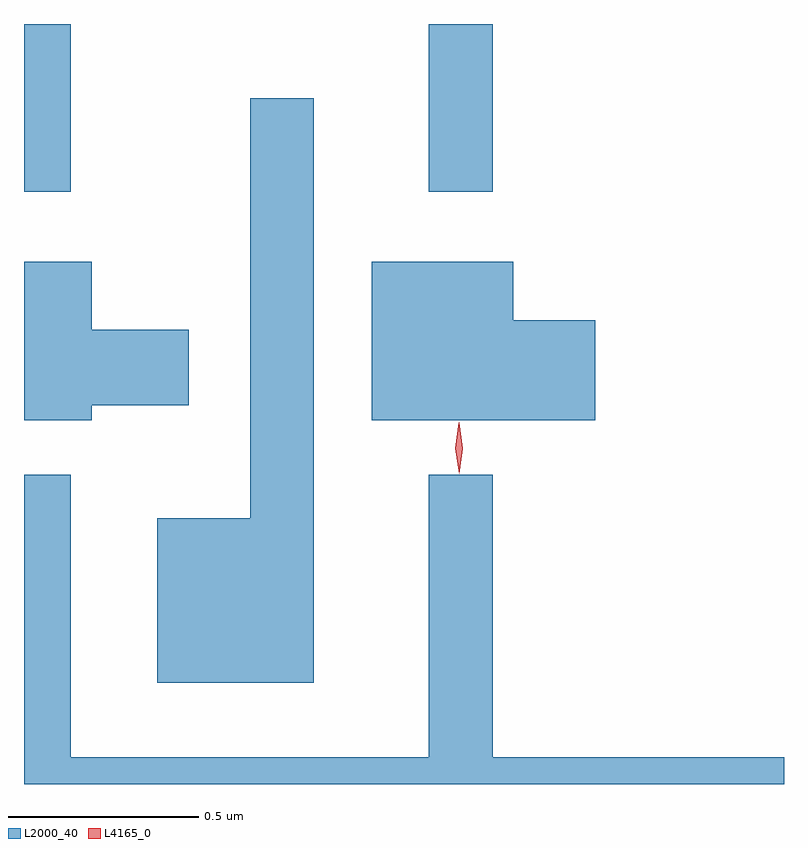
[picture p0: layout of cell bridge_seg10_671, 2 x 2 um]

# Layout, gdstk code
import gdstk
lib = gdstk.Library(unit=1e-6, precision=1e-09)
def R(c, l, rs):  # rectangles x0, y0, x1, y1
    for r in rs: c.add(gdstk.rectangle(r[:2], r[2:], *l))
def P(c, l, *ps):  # polygons
    for p in ps: c.add(gdstk.Polygon(p, *l))
L2000_40 = (2000, 40)
L4165_0 = (4165, 0)

bridge_seg10_671 = lib.new_cell('bridge_seg10_671')
R(bridge_seg10_671, L2000_40, [(720.736,2093.472,720.859,2093.914), (721.801,2093.472,721.969,2093.914)])
P(bridge_seg10_671, L2000_40, [(721.499,2093.718),(721.331,2093.718),(721.331,2092.614),(721.086,2092.614),(721.086,2092.181),(721.499,2092.181)],
  [(720.914,2092.911),(721.169,2092.911),(721.169,2093.109),(720.914,2093.109),(720.914,2093.289),(720.736,2093.289),(720.736,2092.871),(720.914,2092.871)],
  [(722.239,2093.134),(722.024,2093.134),(722.024,2093.289),(721.651,2093.289),(721.651,2092.871),(722.239,2092.871)],
  [(722.736,2091.984),(721.969,2091.984),(721.969,2092.728),(721.801,2092.728),(721.801,2091.984),(720.859,2091.984),(720.859,2092.728),(720.736,2092.728),(720.736,2091.914),(722.736,2091.914)])
P(bridge_seg10_671, L4165_0, [(721.881,2092.73),(721.881,2092.73),(721.871,2092.798),(721.88,2092.865),(721.881,2092.866),(721.881,2092.865),(721.891,2092.798),(721.882,2092.73)],
  [(721.881,2092.733),(721.881,2092.733),(721.871,2092.796),(721.88,2092.859),(721.881,2092.86),(721.881,2092.859),(721.891,2092.796),(721.882,2092.733)])

lib.write_gds('bridge_seg10_671.gds')
